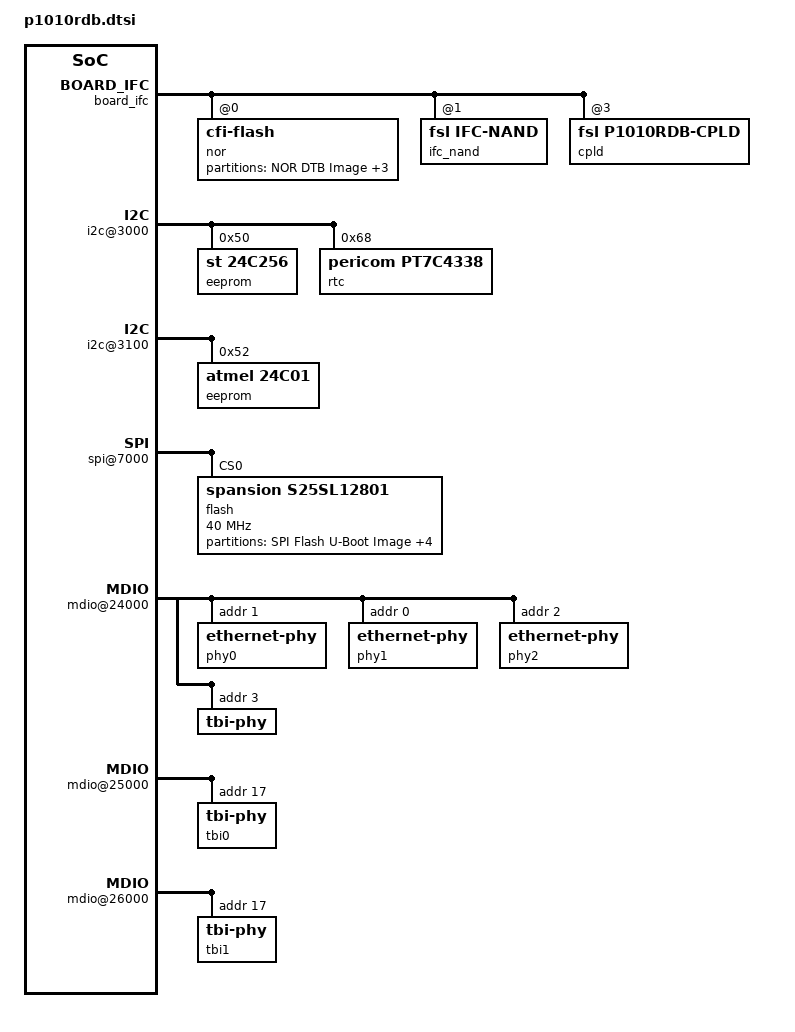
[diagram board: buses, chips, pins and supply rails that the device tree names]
/*
 * P1010 RDB Device Tree Source stub (no addresses or top-level ranges)
 *
 * Copyright 2011 Freescale Semiconductor Inc.
 *
 * Redistribution and use in source and binary forms, with or without
 * modification, are permitted provided that the following conditions are met:
 *     * Redistributions of source code must retain the above copyright
 *       notice, this list of conditions and the following disclaimer.
 *     * Redistributions in binary form must reproduce the above copyright
 *       notice, this list of conditions and the following disclaimer in the
 *       documentation and/or other materials provided with the distribution.
 *     * Neither the name of Freescale Semiconductor nor the
 *       names of its contributors may be used to endorse or promote products
 *       derived from this software without specific prior written permission.
 *
 *
 * ALTERNATIVELY, this software may be distributed under the terms of the
 * GNU General Public License ("GPL") as published by the Free Software
 * Foundation, either version 2 of that License or (at your option) any
 * later version.
 *
 * THIS SOFTWARE IS PROVIDED BY Freescale Semiconductor ``AS IS'' AND ANY
 * EXPRESS OR IMPLIED WARRANTIES, INCLUDING, BUT NOT LIMITED TO, THE IMPLIED
 * WARRANTIES OF MERCHANTABILITY AND FITNESS FOR A PARTICULAR PURPOSE ARE
 * DISCLAIMED. IN NO EVENT SHALL Freescale Semiconductor BE LIABLE FOR ANY
 * DIRECT, INDIRECT, INCIDENTAL, SPECIAL, EXEMPLARY, OR CONSEQUENTIAL DAMAGES
 * (INCLUDING, BUT NOT LIMITED TO, PROCUREMENT OF SUBSTITUTE GOODS OR SERVICES;
 * LOSS OF USE, DATA, OR PROFITS; OR BUSINESS INTERRUPTION) HOWEVER CAUSED AND
 * ON ANY THEORY OF LIABILITY, WHETHER IN CONTRACT, STRICT LIABILITY, OR TORT
 * (INCLUDING NEGLIGENCE OR OTHERWISE) ARISING IN ANY WAY OUT OF THE USE OF THIS
 * SOFTWARE, EVEN IF ADVISED OF THE POSSIBILITY OF SUCH DAMAGE.
 */

&board_ifc {
	nor@0,0 {
		#address-cells = <1>;
		#size-cells = <1>;
		compatible = "cfi-flash";
		reg = <0x0 0x0 0x2000000>;
		bank-width = <2>;
		device-width = <1>;

		partition@40000 {
			/* 256KB for DTB Image */
			reg = <0x00040000 0x00040000>;
			label = "NOR DTB Image";
		};

		partition@80000 {
			/* 7 MB for Linux Kernel Image */
			reg = <0x00080000 0x00700000>;
			label = "NOR Linux Kernel Image";
		};

		partition@800000 {
			/* 20MB for JFFS2 based Root file System */
			reg = <0x00800000 0x01400000>;
			label = "NOR JFFS2 Root File System";
		};

		partition@1f00000 {
			/* This location must not be altered  */
			/* 512KB for u-boot Bootloader Image */
			/* 512KB for u-boot Environment Variables */
			reg = <0x01f00000 0x00100000>;
			label = "NOR U-Boot Image";
			read-only;
		};
	};

	ifc_nand: nand@1,0 {
		#address-cells = <1>;
		#size-cells = <1>;
		compatible = "fsl,ifc-nand";
		reg = <0x1 0x0 0x10000>;
	};

	cpld@3,0 {
		#address-cells = <1>;
		#size-cells = <1>;
		compatible = "fsl,p1010rdb-cpld";
		reg = <0x3 0x0 0x0000020>;
		bank-width = <1>;
		device-width = <1>;
	};
};

&board_soc {
	i2c@3000 {
		eeprom@50 {
			compatible = "st,24c256";
			reg = <0x50>;
		};

		rtc@68 {
			compatible = "pericom,pt7c4338";
			reg = <0x68>;
		};
	};

	i2c@3100 {
		eeprom@52 {
			compatible = "atmel,24c01";
			reg = <0x52>;
		};
	};

	spi@7000 {
		flash@0 {
			#address-cells = <1>;
			#size-cells = <1>;
			compatible = "spansion,s25sl12801";
			reg = <0>;
			spi-max-frequency = <40000000>;

			partition@0 {
				/* 1MB for u-boot Bootloader Image */
				/* 1MB for Environment */
				reg = <0x0 0x00100000>;
				label = "SPI Flash U-Boot Image";
				read-only;
			};

			partition@100000 {
				/* 512KB for DTB Image */
				reg = <0x00100000 0x00080000>;
				label = "SPI Flash DTB Image";
			};

			partition@180000 {
				/* 4MB for Linux Kernel Image */
				reg = <0x00180000 0x00400000>;
				label = "SPI Flash Linux Kernel Image";
			};

			partition@580000 {
				/* 4MB for Compressed RFS Image */
				reg = <0x00580000 0x00400000>;
				label = "SPI Flash Compressed RFSImage";
			};

			partition@980000 {
				/* 6.5MB for JFFS2 based RFS */
				reg = <0x00980000 0x00680000>;
				label = "SPI Flash JFFS2 RFS";
			};
		};
	};

	usb@22000 {
		phy_type = "utmi";
		dr_mode = "host";
	};

	mdio@24000 {
		phy0: ethernet-phy@0 {
			reg = <0x1>;
		};

		phy1: ethernet-phy@1 {
			reg = <0x0>;
		};

		phy2: ethernet-phy@2 {
			reg = <0x2>;
		};

		tbi-phy@3 {
			device_type = "tbi-phy";
			reg = <0x3>;
		};
	};

	mdio@25000 {
		tbi0: tbi-phy@11 {
			reg = <0x11>;
			device_type = "tbi-phy";
		};
	};

	mdio@26000 {
		tbi1: tbi-phy@11 {
			reg = <0x11>;
			device_type = "tbi-phy";
		};
	};

	ptp_clock@b0e00 {
		compatible = "fsl,etsec-ptp";
		reg = <0xb0e00 0xb0>;
		interrupts = <68 2 0 0 69 2 0 0>;
		fsl,tclk-period	= <10>;
		fsl,tmr-prsc	= <2>;
		fsl,tmr-add	= <0x80000016>;
		fsl,tmr-fiper1	= <999999990>;
		fsl,tmr-fiper2	= <99990>;
		fsl,max-adj	= <199999999>;
	};

	enet0: ethernet@b0000 {
		phy-handle = <&phy0>;
		phy-connection-type = "rgmii-id";
	};

	enet1: ethernet@b1000 {
		phy-handle = <&phy1>;
		tbi-handle = <&tbi0>;
		phy-connection-type = "sgmii";
	};

	enet2: ethernet@b2000 {
		phy-handle = <&phy2>;
		tbi-handle = <&tbi1>;
		phy-connection-type = "sgmii";
	};
};
